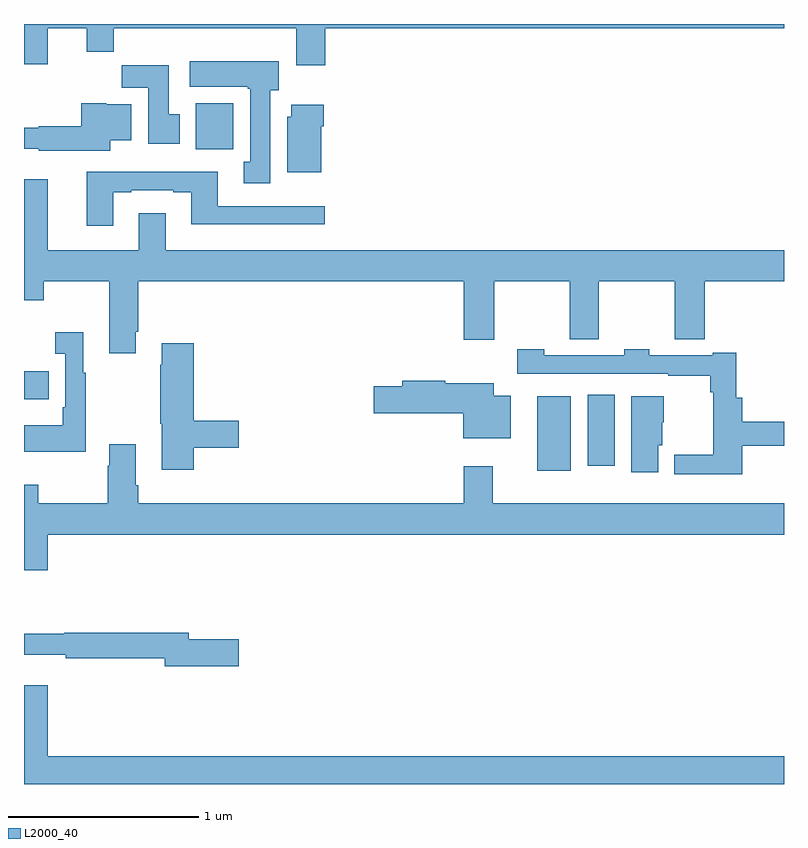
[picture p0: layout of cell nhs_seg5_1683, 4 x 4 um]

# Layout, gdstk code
import gdstk
lib = gdstk.Library(unit=1e-6, precision=1e-09)
def R(c, l, rs):  # rectangles x0, y0, x1, y1
    for r in rs: c.add(gdstk.rectangle(r[:2], r[2:], *l))
def P(c, l, *ps):  # polygons
    for p in ps: c.add(gdstk.Polygon(p, *l))
L2000_40 = (2000, 40)

nhs_seg5_1683 = lib.new_cell('nhs_seg5_1683')
R(nhs_seg5_1683, L2000_40, [(215.702,838.448,215.878,838.84), (215.966,838.473,216.109,838.849), (213,838.823,213.131,838.971), (213.905,840.14,214.102,840.382)])
P(nhs_seg5_1683, L2000_40, [(214.586,840.776),(217,840.776),(217,840.799),(213,840.799),(213,840.588),(213.124,840.588),(213.124,840.776),(213.329,840.776),(213.329,840.652),(213.473,840.652),(213.473,840.776),(214.433,840.776),(214.433,840.582),(214.586,840.582)],
  [(214.297,840.45),(214.342,840.45),(214.342,840.604),(213.873,840.604),(213.873,840.47),(214.177,840.47),(214.177,840.457),(214.19,840.457),(214.19,840.074),(214.157,840.074),(214.157,839.961),(214.297,839.961)],
  [(213.82,840.324),(213.763,840.324),(213.763,840.583),(213.514,840.583),(213.514,840.464),(213.653,840.464),(213.653,840.168),(213.82,840.168)],
  [(213.454,840.188),(213.565,840.188),(213.565,840.376),(213.432,840.376),(213.432,840.382),(213.302,840.382),(213.302,840.261),(213.078,840.261),(213.078,840.253),(213,840.253),(213,840.143),(213.078,840.143),(213.078,840.131),(213.454,840.131)],
  [(214.564,840.26),(214.577,840.26),(214.577,840.373),(214.406,840.373),(214.406,840.312),(214.385,840.312),(214.385,840.02),(214.564,840.02)],
  [(213.469,839.913),(213.565,839.913),(213.565,839.925),(213.785,839.925),(213.785,839.913),(213.881,839.913),(213.881,839.744),(214.582,839.744),(214.582,839.841),(214.021,839.841),(214.021,840.022),(213.329,840.022),(213.329,839.736),(213.469,839.736)],
  [(213.745,839.803),(213.605,839.803),(213.605,839.608),(213.124,839.608),(213.124,839.983),(213,839.983),(213,839.345),(213.105,839.345),(213.105,839.444),(213.449,839.444),(213.449,839.067),(213.589,839.067),(213.589,839.179),(213.602,839.179),(213.602,839.444),(215.315,839.444),(215.315,839.136),(215.475,839.136),(215.475,839.444),(215.872,839.444),(215.872,839.14),(216.026,839.14),(216.026,839.444),(216.424,839.444),(216.424,839.14),(216.584,839.14),(216.584,839.444),(217,839.444),(217,839.608),(213.745,839.608)],
  [(213.325,838.963),(213.313,838.963),(213.313,839.176),(213.165,839.176),(213.165,839.063),(213.216,839.063),(213.216,838.783),(213.204,838.783),(213.204,838.687),(213,838.687),(213,838.547),(213.325,838.547)],
  [(213.893,838.57),(214.129,838.57),(214.129,838.712),(213.893,838.712),(213.893,839.119),(213.725,839.119),(213.725,839.006),(213.718,839.006),(213.718,838.695),(213.725,838.695),(213.725,838.452),(213.893,838.452)],
  [(216.779,838.578),(217,838.578),(217,838.706),(216.779,838.706),(216.779,838.831),(216.749,838.831),(216.749,839.068),(216.626,839.068),(216.626,839.055),(216.291,839.055),(216.291,839.088),(216.159,839.088),(216.159,839.055),(215.739,839.055),(215.739,839.088),(215.595,839.088),(215.595,838.959),(216.391,838.959),(216.391,838.947),(216.613,838.947),(216.613,838.862),(216.628,838.862),(216.628,838.532),(216.423,838.532),(216.423,838.43),(216.779,838.43)],
  [(215.563,838.843),(215.473,838.843),(215.473,838.909),(215.216,838.909),(215.216,838.922),(214.991,838.922),(214.991,838.892),(214.842,838.892),(214.842,838.75),(215.312,838.75),(215.312,838.619),(215.563,838.619)],
  [(216.337,838.581),(216.358,838.581),(216.358,838.704),(216.367,838.704),(216.367,838.84),(216.197,838.84),(216.197,838.44),(216.337,838.44)],
  [(213.124,838.112),(217,838.112),(217,838.276),(215.467,838.276),(215.467,838.471),(215.315,838.471),(215.315,838.276),(213.602,838.276),(213.602,838.372),(213.589,838.372),(213.589,838.588),(213.449,838.588),(213.449,838.475),(213.442,838.475),(213.442,838.276),(213.075,838.276),(213.075,838.375),(213,838.375),(213,837.924),(213.124,837.924)],
  [(214.129,837.56),(213.868,837.56),(213.868,837.596),(213.213,837.596),(213.213,837.589),(213,837.589),(213,837.479),(213.22,837.479),(213.22,837.46),(213.74,837.46),(213.74,837.418),(214.129,837.418)],
  [(217,836.944),(213.124,836.944),(213.124,837.319),(213,837.319),(213,836.799),(217,836.799)])

lib.write_gds('nhs_seg5_1683.gds')
